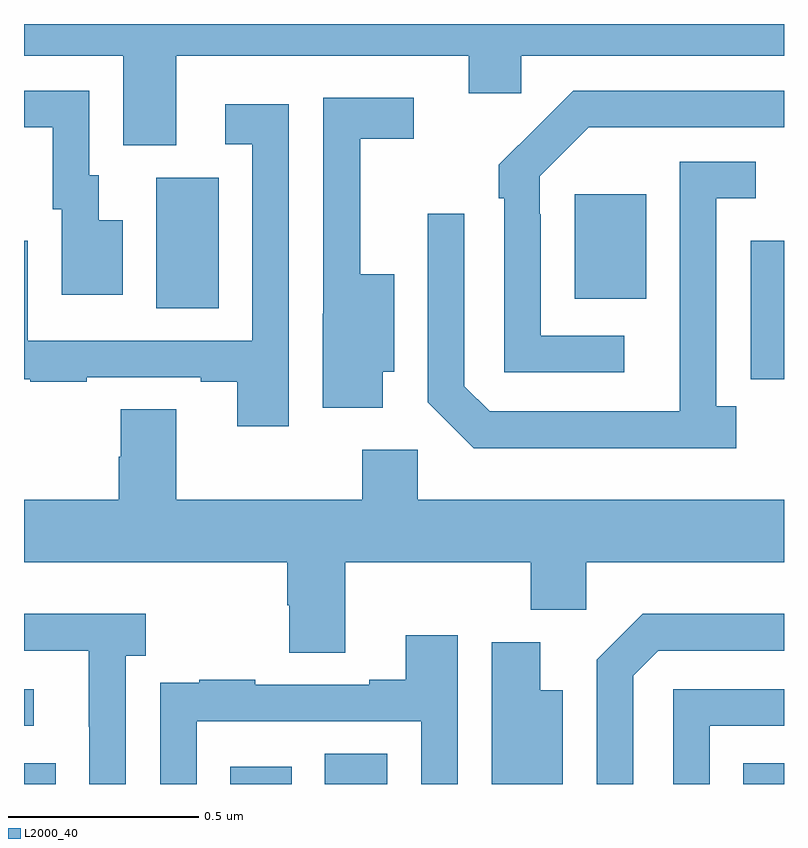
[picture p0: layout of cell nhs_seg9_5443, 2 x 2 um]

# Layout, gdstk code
import gdstk
lib = gdstk.Library(unit=1e-6, precision=1e-09)
def R(c, l, rs):  # rectangles x0, y0, x1, y1
    for r in rs: c.add(gdstk.rectangle(r[:2], r[2:], *l))
def P(c, l, *ps):  # polygons
    for p in ps: c.add(gdstk.Polygon(p, *l))
L2000_40 = (2000, 40)

nhs_seg9_5443 = lib.new_cell('nhs_seg9_5443')
R(nhs_seg9_5443, L2000_40, [(179,1198.5,179.083,1198.555), (179.543,1198.5,179.704,1198.546), (179.792,1198.5,179.956,1198.58), (180.893,1198.5,181,1198.555), (179,1198.653,179.026,1198.749), (179.348,1199.752,179.512,1200.096), (180.449,1199.777,180.637,1200.052)])
P(nhs_seg9_5443, L2000_40, [(179.401,1200.416),(180.17,1200.416),(180.17,1200.318),(180.309,1200.318),(180.309,1200.416),(181,1200.416),(181,1200.5),(179,1200.5),(179,1200.416),(179.261,1200.416),(179.261,1200.181),(179.401,1200.181)],
  [(179.26,1199.983),(179.197,1199.983),(179.197,1200.102),(179.172,1200.102),(179.172,1200.324),(179,1200.324),(179,1200.228),(179.075,1200.228),(179.075,1200.012),(179.099,1200.012),(179.099,1199.787),(179.26,1199.787)],
  [(180.58,1199.679),(180.36,1199.679),(180.36,1199.999),(180.357,1199.999),(180.357,1200.099),(180.486,1200.228),(181,1200.228),(181,1200.324),(180.446,1200.324),(180.355,1200.233),(180.354,1200.234),(180.249,1200.129),(180.249,1200.041),(180.264,1200.041),(180.264,1199.583),(180.58,1199.583)],
  [(179.944,1199.585),(179.974,1199.585),(179.974,1199.842),(179.885,1199.842),(179.885,1200.198),(180.025,1200.198),(180.025,1200.306),(179.787,1200.306),(179.787,1199.738),(179.786,1199.738),(179.786,1199.49),(179.944,1199.49)],
  [(179.697,1200.289),(179.529,1200.289),(179.529,1200.183),(179.601,1200.183),(179.601,1199.667),(179.01,1199.667),(179.01,1199.929),(179,1199.929),(179,1199.565),(179.017,1199.565),(179.017,1199.559),(179.165,1199.559),(179.165,1199.571),(179.465,1199.571),(179.465,1199.559),(179.561,1199.559),(179.561,1199.442),(179.697,1199.442)],
  [(180.874,1199.494),(180.822,1199.494),(180.822,1200.042),(180.925,1200.042),(180.925,1200.138),(180.726,1200.138),(180.726,1199.681),(180.725,1199.681),(180.725,1199.481),(180.225,1199.481),(180.159,1199.547),(180.159,1200.001),(180.063,1200.001),(180.063,1199.505),(180.184,1199.384),(180.874,1199.384)],
  [(181,1199.929),(180.912,1199.929),(180.912,1199.674),(180.913,1199.674),(180.913,1199.565),(181,1199.565)],
  [(179.845,1199.084),(180.334,1199.084),(180.334,1198.958),(180.48,1198.958),(180.48,1199.084),(181,1199.084),(181,1199.248),(180.036,1199.248),(180.036,1199.38),(179.89,1199.38),(179.89,1199.248),(179.401,1199.248),(179.401,1199.486),(179.254,1199.486),(179.254,1199.361),(179.249,1199.361),(179.249,1199.248),(179,1199.248),(179,1199.084),(179.693,1199.084),(179.693,1198.971),(179.698,1198.971),(179.698,1198.846),(179.845,1198.846)],
  [(179.268,1198.838),(179.32,1198.838),(179.32,1198.948),(179,1198.948),(179,1198.851),(179.171,1198.851),(179.171,1198.651),(179.172,1198.651),(179.172,1198.5),(179.268,1198.5)],
  [(180.603,1198.785),(180.669,1198.851),(181,1198.851),(181,1198.948),(180.628,1198.948),(180.507,1198.827),(180.507,1198.5),(180.603,1198.5)],
  [(179.454,1198.665),(180.045,1198.665),(180.045,1198.5),(180.141,1198.5),(180.141,1198.891),(180.005,1198.891),(180.005,1198.774),(179.909,1198.774),(179.909,1198.761),(179.609,1198.761),(179.609,1198.774),(179.461,1198.774),(179.461,1198.767),(179.359,1198.767),(179.359,1198.658),(179.358,1198.658),(179.358,1198.5),(179.454,1198.5)],
  [(180.418,1198.747),(180.358,1198.747),(180.358,1198.873),(180.231,1198.873),(180.231,1198.5),(180.418,1198.5)],
  [(180.804,1198.653),(181,1198.653),(181,1198.749),(180.708,1198.749),(180.708,1198.5),(180.804,1198.5)])

lib.write_gds('nhs_seg9_5443.gds')
